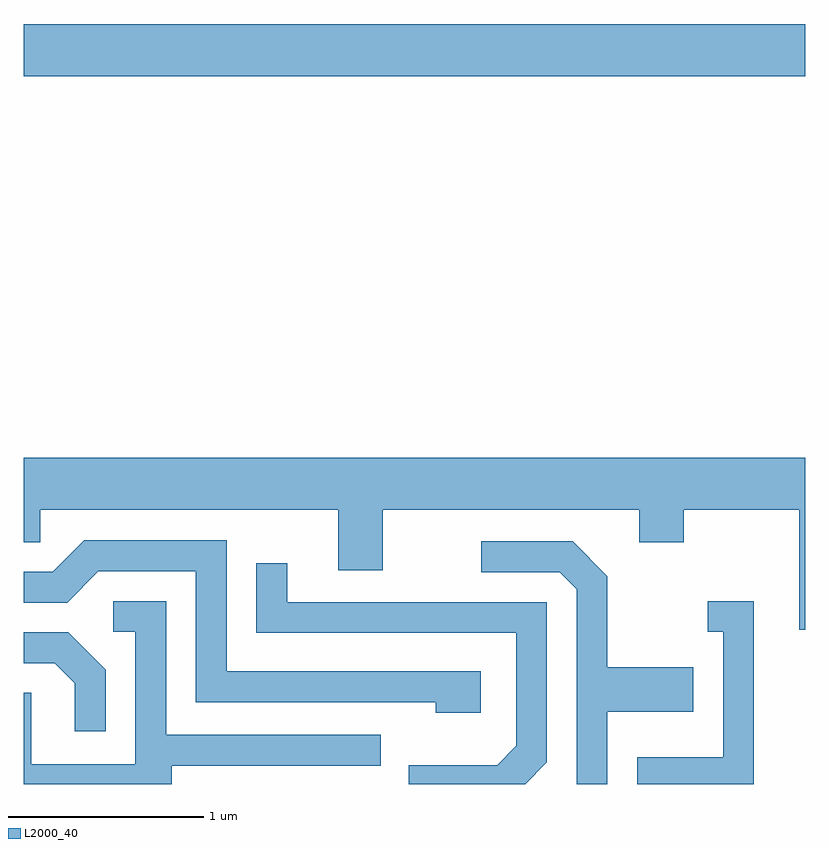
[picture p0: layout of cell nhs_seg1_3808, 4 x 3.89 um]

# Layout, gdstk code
import gdstk
lib = gdstk.Library(unit=1e-6, precision=1e-09)
def R(c, l, rs):  # rectangles x0, y0, x1, y1
    for r in rs: c.add(gdstk.rectangle(r[:2], r[2:], *l))
def P(c, l, *ps):  # polygons
    for p in ps: c.add(gdstk.Polygon(p, *l))
L2000_40 = (2000, 40)

nhs_seg1_3808 = lib.new_cell('nhs_seg1_3808')
R(nhs_seg1_3808, L2000_40, [(299.611,917.336,303.611,917.604)])
P(nhs_seg1_3808, L2000_40, [(299.611,914.951),(299.694,914.951),(299.694,915.116),(301.221,915.116),(301.221,914.806),(301.449,914.806),(301.449,915.116),(302.761,915.116),(302.761,914.951),(302.989,914.951),(302.989,915.116),(303.581,915.116),(303.581,914.501),(303.611,914.501),(303.611,915.384),(299.611,915.384)],
  [(301.949,914.289),(300.649,914.289),(300.649,914.959),(299.919,914.959),(299.759,914.799),(299.611,914.799),(299.611,914.641),(299.832,914.641),(299.992,914.801),(300.491,914.801),(300.491,914.131),(301.721,914.131),(301.721,914.076),(301.949,914.076)],
  [(302.599,914.081),(303.039,914.081),(303.039,914.309),(302.599,914.309),(302.599,914.777),(302.422,914.954),(301.953,914.954),(301.953,914.796),(302.354,914.796),(302.441,914.709),(302.441,913.712),(302.599,913.712)],
  [(302.289,913.824),(302.289,914.644),(300.959,914.644),(300.959,914.843),(300.801,914.843),(300.801,914.486),(302.131,914.486),(302.131,913.907),(302.034,913.809),(301.581,913.809),(301.581,913.712),(302.178,913.712)],
  [(303.349,914.649),(303.113,914.649),(303.113,914.491),(303.191,914.491),(303.191,913.849),(302.751,913.849),(302.751,913.712),(303.349,913.712)],
  [(300.369,913.806),(301.438,913.806),(301.438,913.964),(300.339,913.964),(300.339,914.649),(300.068,914.649),(300.068,914.491),(300.181,914.491),(300.181,913.814),(299.649,913.814),(299.649,914.179),(299.611,914.179),(299.611,913.712),(300.369,913.712)],
  [(300.029,914.297),(299.837,914.489),(299.611,914.489),(299.611,914.331),(299.769,914.331),(299.871,914.229),(299.871,913.983),(300.029,913.983)])

lib.write_gds('nhs_seg1_3808.gds')
